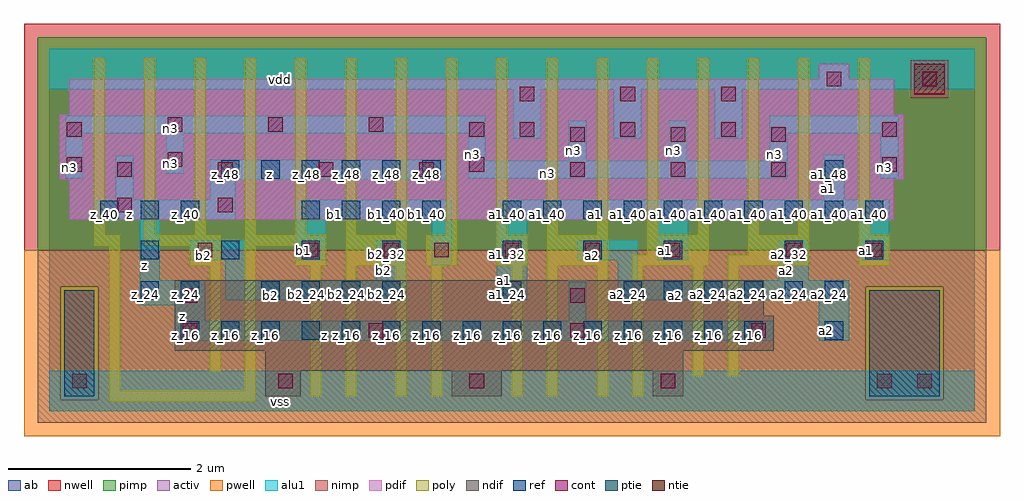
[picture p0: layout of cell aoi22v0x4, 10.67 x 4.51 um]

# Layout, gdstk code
import gdstk
lib = gdstk.Library(unit=1e-6, precision=2.5e-09)
def R(c, l, rs):  # rectangles x0, y0, x1, y1
    for r in rs: c.add(gdstk.rectangle(r[:2], r[2:], *l))
def A(c, l, x, y, w, h, nx, ny, dx, dy):  # array of equal rectangles
    R(c, l, [(x+i*dx, y+j*dy, x+i*dx+w, y+j*dy+h) for i in range(nx) for j in range(ny)])
ndif = (3, 0)
pdif = (4, 0)
ntie = (5, 0)
ptie = (6, 0)
ref = (24, 0)
cont = (25, 0)
pwell = (41, 0)
nwell = (42, 0)
activ = (43, 0)
pimp = (44, 0)
nimp = (45, 0)
poly = (46, 0)
alu1 = (49, 0)
ab = (63, 0)

aoi22v0x4 = lib.new_cell('aoi22v0x4')
R(aoi22v0x4, ndif, [(2.365,0.165,2.75,0.44), (4.4,0.165,4.95,0.44), (6.6,0.165,6.93,0.44), (2.365,0.44,6.93,0.66), (1.375,0.66,7.92,1.045), (1.375,1.045,7.81,1.43)])
R(aoi22v0x4, pdif, [(0.22,2.09,9.24,2.53), (0.11,2.53,9.35,3.245), (0.22,3.245,9.24,3.63), (8.415,3.63,8.745,3.795)])
R(aoi22v0x4, ntie, [(9.46,3.465,9.79,3.795)])
R(aoi22v0x4, ptie, [(0.165,0.165,0.495,1.32), (8.965,0.165,9.735,1.32)])
A(aoi22v0x4, ref, 1.44, 0.78, 0.2, 0.2, 15, 1, 0.44, 0)
A(aoi22v0x4, ref, 2.32, 1.22, 0.2, 0.2, 4, 1, 0.44, 0)
A(aoi22v0x4, ref, 6.28, 1.22, 0.2, 0.2, 6, 1, 0.44, 0)
A(aoi22v0x4, ref, 1, 1.66, 0.2, 0.2, 4, 1, 0.88, 0)
A(aoi22v0x4, ref, 4.96, 1.66, 0.2, 0.2, 3, 1, 0.88, 0)
A(aoi22v0x4, ref, 0.56, 2.1, 0.2, 0.2, 3, 1, 0.44, 0)
A(aoi22v0x4, ref, 2.76, 2.1, 0.2, 0.2, 4, 1, 0.44, 0)
A(aoi22v0x4, ref, 4.96, 2.1, 0.2, 0.2, 10, 1, 0.44, 0)
A(aoi22v0x4, ref, 1.88, 2.54, 0.2, 0.2, 6, 1, 0.44, 0)
R(aoi22v0x4, ref, [(8.48,0.78,8.68,0.98), (1,1.22,1.2,1.42), (1.44,1.22,1.64,1.42), (4.96,1.22,5.16,1.42), (8.04,1.66,8.24,1.86), (8.92,1.66,9.12,1.86), (8.48,2.54,8.68,2.74)])
A(aoi22v0x4, cont, 2.505, 0.25, 0.16, 0.16, 3, 1, 2.09, 0)
A(aoi22v0x4, cont, 4.98, 1.68, 0.16, 0.16, 3, 1, 0.88, 0)
A(aoi22v0x4, cont, 0.745, 2.56, 0.16, 0.16, 4, 1, 1.1, 0)
A(aoi22v0x4, cont, 5.695, 2.56, 0.16, 0.16, 3, 2, 1.1, 0.385)
A(aoi22v0x4, cont, 5.145, 3, 0.16, 0.16, 3, 2, 1.1, 0.385)
A(aoi22v0x4, cont, 1.295, 3.055, 0.16, 0.16, 3, 1, 1.1, 0)
R(aoi22v0x4, cont, [(0.25,0.25,0.41,0.41), (9.05,0.25,9.21,0.41), (9.49,0.25,9.65,0.41), (1.46,0.8,1.62,0.96), (3.495,0.8,3.655,0.96), (5.695,0.8,5.855,0.96), (7.675,0.8,7.835,0.96), (1.46,1.185,1.62,1.345), (5.695,1.185,5.855,1.345), (1.625,1.68,1.785,1.84), (2.78,1.68,2.94,1.84), (3.66,1.68,3.82,1.84), (4.21,1.68,4.37,1.84), (8.06,1.68,8.22,1.84), (8.94,1.68,9.1,1.84), (0.745,2.175,0.905,2.335), (1.845,2.175,2.005,2.335), (0.195,2.615,0.355,2.775), (4.595,2.615,4.755,2.775), (9.105,2.615,9.265,2.775), (1.295,2.67,1.455,2.83), (0.195,3,0.355,3.16), (4.595,3,4.755,3.16), (9.105,3,9.265,3.16), (8.5,3.55,8.66,3.71), (9.545,3.55,9.705,3.71)])
R(aoi22v0x4, pwell, [(-0.275,-0.275,10.395,1.76)])
R(aoi22v0x4, nwell, [(-0.275,1.76,10.395,4.235)])
R(aoi22v0x4, activ, [(0.165,0.165,0.495,1.32), (2.365,0.165,2.75,0.44), (4.4,0.165,4.95,0.44), (6.6,0.165,6.93,0.44), (8.965,0.165,9.735,1.32), (2.365,0.44,6.93,0.66), (1.375,0.66,7.92,1.045), (1.375,1.045,7.81,1.43), (0.22,2.09,9.24,2.53), (0.11,2.53,9.35,3.245), (0.22,3.245,9.24,3.63), (9.46,3.465,9.79,3.795), (8.415,3.63,8.745,3.795)])
R(aoi22v0x4, pimp, [(0.125,0.125,0.535,1.36), (8.925,0.125,9.775,1.36), (-0.125,1.76,10.245,3.425), (-0.125,3.425,9.42,3.835), (9.83,3.425,10.245,3.835), (-0.125,3.835,10.245,4.085)])
R(aoi22v0x4, nimp, [(-0.125,-0.125,10.245,0.125), (-0.125,0.125,0.125,1.36), (0.535,0.125,8.925,1.36), (9.775,0.125,10.245,1.36), (-0.125,1.36,10.245,1.76), (9.42,3.425,9.83,3.835)])
A(aoi22v0x4, poly, 0.49, 1.93, 0.12, 1.925, 15, 1, 0.55, 0)
R(aoi22v0x4, poly, [(0.655,0.105,2.26,0.225), (2.855,0.16,2.975,1.59), (3.24,0.16,3.36,1.59), (3.79,0.16,3.91,1.59), (4.175,0.16,4.295,1.59), (5.055,0.16,5.175,1.59), (5.44,0.16,5.56,1.59), (5.99,0.16,6.11,1.59), (6.375,0.16,6.495,1.59), (0.655,0.225,0.775,1.81), (2.14,0.225,2.26,1.81), (7.035,0.38,7.155,1.59), (7.42,0.38,7.54,1.59), (1.755,0.435,1.875,1.59), (1.535,1.59,1.875,1.81), (2.69,1.59,3.03,1.81), (3.24,1.59,3.91,1.93), (4.12,1.59,4.46,1.93), (4.89,1.59,5.23,1.93), (5.44,1.59,6.11,1.93), (6.375,1.59,7.21,1.71), (7.42,1.59,8.31,1.71), (8.85,1.59,9.19,1.93), (6.54,1.71,7.21,1.93), (7.64,1.71,8.31,1.93), (0.49,1.81,0.775,1.93), (1.04,1.81,1.875,1.93), (2.14,1.81,3.03,1.93), (8.85,1.93,8.97,3.855)])
A(aoi22v0x4, alu1, 5.075, 2.985, 0.3, 0.535, 3, 1, 1.1, 0)
R(aoi22v0x4, alu1, [(0,0,10.12,0.44), (1.375,0.77,7.92,0.99), (8.415,0.77,8.745,1.21), (1.375,0.99,1.705,1.155), (5.68,0.99,5.87,1.415), (0.99,1.155,1.705,1.43), (1.925,1.21,3.905,1.43), (4.895,1.21,5.225,2.09), (6.215,1.21,8.745,1.43), (0.99,1.43,1.21,2.09), (1.925,1.43,2.145,1.65), (3.575,1.43,3.905,1.87), (6.215,1.43,6.435,1.65), (7.975,1.43,8.305,1.87), (4.18,1.595,4.4,2.09), (1.54,1.65,2.145,1.87), (2.695,1.65,3.025,2.09), (5.775,1.65,6.435,1.87), (6.655,1.65,6.985,2.09), (8.855,1.65,9.185,2.09), (0.495,2.09,2.035,2.31), (2.695,2.09,4.4,2.31), (4.895,2.09,9.185,2.31), (0.73,2.31,0.92,2.79), (1.76,2.31,2.035,2.53), (8.47,2.31,8.69,2.805), (1.76,2.53,4.345,2.75), (0.18,2.545,0.37,3.04), (4.58,2.545,8.07,2.735), (9.09,2.545,9.28,3.04), (1.28,2.6,1.47,3.04), (4.58,2.735,4.77,3.04), (5.68,2.735,5.87,3.175), (6.78,2.735,6.97,3.175), (7.88,2.735,8.07,3.04), (0.18,3.04,4.77,3.23), (7.88,3.04,9.28,3.23), (0,3.52,10.12,3.96)])
R(aoi22v0x4, ab, [(0,0,10.12,3.96)])
aoi22v0x4.add(gdstk.Label('vss', (2.53,0.11), layer=49, texttype=0))
aoi22v0x4.add(gdstk.Label('a2', (8.4975,0.88), layer=49, texttype=0))
aoi22v0x4.add(gdstk.Label('z', (3.01,0.825), layer=49, texttype=0))
aoi22v0x4.add(gdstk.Label('a2', (6.8475,1.265), layer=49, texttype=0))
aoi22v0x4.add(gdstk.Label('z', (1.4575,1.03), layer=49, texttype=0))
aoi22v0x4.add(gdstk.Label('a1', (8.9375,1.76), layer=49, texttype=0))
aoi22v0x4.add(gdstk.Label('a2', (8.0575,1.54), layer=49, texttype=0))
aoi22v0x4.add(gdstk.Label('a1', (6.7375,1.76), layer=49, texttype=0))
aoi22v0x4.add(gdstk.Label('a2', (5.94,1.705), layer=49, texttype=0))
aoi22v0x4.add(gdstk.Label('a1', (4.9775,1.43), layer=49, texttype=0))
aoi22v0x4.add(gdstk.Label('b2', (2.42,1.265), layer=49, texttype=0))
aoi22v0x4.add(gdstk.Label('a1', (5.9675,2.145), layer=49, texttype=0))
aoi22v0x4.add(gdstk.Label('b2', (3.6575,1.54), layer=49, texttype=0))
aoi22v0x4.add(gdstk.Label('b1', (2.7775,1.76), layer=49, texttype=0))
aoi22v0x4.add(gdstk.Label('b2', (1.69,1.705), layer=49, texttype=0))
aoi22v0x4.add(gdstk.Label('z', (1.045,1.595), layer=49, texttype=0))
aoi22v0x4.add(gdstk.Label('b1', (3.12,2.145), layer=49, texttype=0))
aoi22v0x4.add(gdstk.Label('z', (0.88,2.145), layer=49, texttype=0))
aoi22v0x4.add(gdstk.Label('n3', (9.1375,2.6675), layer=49, texttype=0))
aoi22v0x4.add(gdstk.Label('a1', (8.525,2.4325), layer=49, texttype=0))
aoi22v0x4.add(gdstk.Label('n3', (5.4525,2.5925), layer=49, texttype=0))
aoi22v0x4.add(gdstk.Label('n3', (7.9275,2.81), layer=49, texttype=0))
aoi22v0x4.add(gdstk.Label('n3', (6.8275,2.845), layer=49, texttype=0))
aoi22v0x4.add(gdstk.Label('n3', (5.7275,2.845), layer=49, texttype=0))
aoi22v0x4.add(gdstk.Label('n3', (4.6275,2.81), layer=49, texttype=0))
aoi22v0x4.add(gdstk.Label('z', (2.405,2.585), layer=49, texttype=0))
aoi22v0x4.add(gdstk.Label('n3', (1.3275,2.71), layer=49, texttype=0))
aoi22v0x4.add(gdstk.Label('n3', (0.2275,2.6675), layer=49, texttype=0))
aoi22v0x4.add(gdstk.Label('n3', (1.3275,3.0875), layer=49, texttype=0))
aoi22v0x4.add(gdstk.Label('vdd', (2.53,3.63), layer=49, texttype=0))
aoi22v0x4.add(gdstk.Label('z_16', (5.45,0.83), layer=24, texttype=0))
aoi22v0x4.add(gdstk.Label('a1_40', (5.45,2.15), layer=24, texttype=0))
aoi22v0x4.add(gdstk.Label('z_16', (5.89,0.83), layer=24, texttype=0))
aoi22v0x4.add(gdstk.Label('a2_32', (5.89,1.71), layer=24, texttype=0))
aoi22v0x4.add(gdstk.Label('a1_40', (5.89,2.15), layer=24, texttype=0))
aoi22v0x4.add(gdstk.Label('z_16', (6.33,0.83), layer=24, texttype=0))
aoi22v0x4.add(gdstk.Label('a2_24', (6.33,1.27), layer=24, texttype=0))
aoi22v0x4.add(gdstk.Label('a1_40', (6.33,2.15), layer=24, texttype=0))
aoi22v0x4.add(gdstk.Label('z_40', (0.61,2.15), layer=24, texttype=0))
aoi22v0x4.add(gdstk.Label('z_16', (6.77,0.83), layer=24, texttype=0))
aoi22v0x4.add(gdstk.Label('a2_24', (6.77,1.27), layer=24, texttype=0))
aoi22v0x4.add(gdstk.Label('a1_32', (6.77,1.71), layer=24, texttype=0))
aoi22v0x4.add(gdstk.Label('a1_40', (6.77,2.15), layer=24, texttype=0))
aoi22v0x4.add(gdstk.Label('z_16', (7.21,0.83), layer=24, texttype=0))
aoi22v0x4.add(gdstk.Label('a2_24', (7.21,1.27), layer=24, texttype=0))
aoi22v0x4.add(gdstk.Label('a1_40', (7.21,2.15), layer=24, texttype=0))
aoi22v0x4.add(gdstk.Label('z_16', (7.65,0.83), layer=24, texttype=0))
aoi22v0x4.add(gdstk.Label('a2_24', (7.65,1.27), layer=24, texttype=0))
aoi22v0x4.add(gdstk.Label('a1_40', (7.65,2.15), layer=24, texttype=0))
aoi22v0x4.add(gdstk.Label('a2_24', (8.09,1.27), layer=24, texttype=0))
aoi22v0x4.add(gdstk.Label('a2_32', (8.09,1.71), layer=24, texttype=0))
aoi22v0x4.add(gdstk.Label('a1_40', (8.09,2.15), layer=24, texttype=0))
aoi22v0x4.add(gdstk.Label('a2_16', (8.53,0.83), layer=24, texttype=0))
aoi22v0x4.add(gdstk.Label('a2_24', (8.53,1.27), layer=24, texttype=0))
aoi22v0x4.add(gdstk.Label('a1_40', (8.53,2.15), layer=24, texttype=0))
aoi22v0x4.add(gdstk.Label('a1_48', (8.53,2.59), layer=24, texttype=0))
aoi22v0x4.add(gdstk.Label('a1_32', (8.97,1.71), layer=24, texttype=0))
aoi22v0x4.add(gdstk.Label('a1_40', (8.97,2.15), layer=24, texttype=0))
aoi22v0x4.add(gdstk.Label('z_24', (1.05,1.27), layer=24, texttype=0))
aoi22v0x4.add(gdstk.Label('z_32', (1.05,1.71), layer=24, texttype=0))
aoi22v0x4.add(gdstk.Label('z_40', (1.05,2.15), layer=24, texttype=0))
aoi22v0x4.add(gdstk.Label('z_16', (1.49,0.83), layer=24, texttype=0))
aoi22v0x4.add(gdstk.Label('z_24', (1.49,1.27), layer=24, texttype=0))
aoi22v0x4.add(gdstk.Label('z_40', (1.49,2.15), layer=24, texttype=0))
aoi22v0x4.add(gdstk.Label('z_16', (1.93,0.83), layer=24, texttype=0))
aoi22v0x4.add(gdstk.Label('b2_32', (1.93,1.71), layer=24, texttype=0))
aoi22v0x4.add(gdstk.Label('z_48', (1.93,2.59), layer=24, texttype=0))
aoi22v0x4.add(gdstk.Label('z_16', (2.37,0.83), layer=24, texttype=0))
aoi22v0x4.add(gdstk.Label('b2_24', (2.37,1.27), layer=24, texttype=0))
aoi22v0x4.add(gdstk.Label('z_48', (2.37,2.59), layer=24, texttype=0))
aoi22v0x4.add(gdstk.Label('z_16', (2.81,0.83), layer=24, texttype=0))
aoi22v0x4.add(gdstk.Label('b2_24', (2.81,1.27), layer=24, texttype=0))
aoi22v0x4.add(gdstk.Label('b1_32', (2.81,1.71), layer=24, texttype=0))
aoi22v0x4.add(gdstk.Label('b1_40', (2.81,2.15), layer=24, texttype=0))
aoi22v0x4.add(gdstk.Label('z_48', (2.81,2.59), layer=24, texttype=0))
aoi22v0x4.add(gdstk.Label('z_16', (3.25,0.83), layer=24, texttype=0))
aoi22v0x4.add(gdstk.Label('b2_24', (3.25,1.27), layer=24, texttype=0))
aoi22v0x4.add(gdstk.Label('b1_40', (3.25,2.15), layer=24, texttype=0))
aoi22v0x4.add(gdstk.Label('z_48', (3.25,2.59), layer=24, texttype=0))
aoi22v0x4.add(gdstk.Label('z_16', (3.69,0.83), layer=24, texttype=0))
aoi22v0x4.add(gdstk.Label('b2_24', (3.69,1.27), layer=24, texttype=0))
aoi22v0x4.add(gdstk.Label('b2_32', (3.69,1.71), layer=24, texttype=0))
aoi22v0x4.add(gdstk.Label('b1_40', (3.69,2.15), layer=24, texttype=0))
aoi22v0x4.add(gdstk.Label('z_48', (3.69,2.59), layer=24, texttype=0))
aoi22v0x4.add(gdstk.Label('z_16', (4.13,0.83), layer=24, texttype=0))
aoi22v0x4.add(gdstk.Label('b1_40', (4.13,2.15), layer=24, texttype=0))
aoi22v0x4.add(gdstk.Label('z_48', (4.13,2.59), layer=24, texttype=0))
aoi22v0x4.add(gdstk.Label('z_16', (4.57,0.83), layer=24, texttype=0))
aoi22v0x4.add(gdstk.Label('z_16', (5.01,0.83), layer=24, texttype=0))
aoi22v0x4.add(gdstk.Label('a1_24', (5.01,1.27), layer=24, texttype=0))
aoi22v0x4.add(gdstk.Label('a1_32', (5.01,1.71), layer=24, texttype=0))
aoi22v0x4.add(gdstk.Label('a1_40', (5.01,2.15), layer=24, texttype=0))

lib.write_gds('aoi22v0x4.gds')
